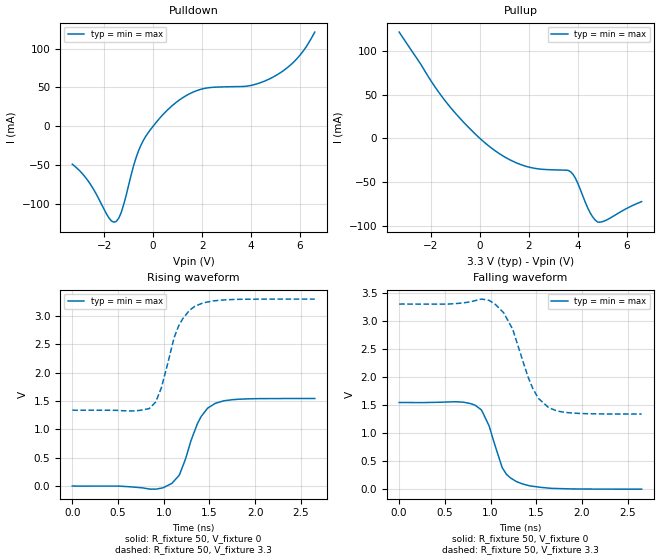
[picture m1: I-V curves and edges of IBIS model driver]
| IBIS file ex2_nomiller_tr5ps.ibs created by PYS2IBIS3
| Missouri S&T EMC Lab
[IBIS Ver] 7.1
[File Name] ex2_nomiller_tr5ps.ibs
[File Rev] 1.0
[Date] July 28, 2026
[Source] ex2 variant nomiller -- n4->out Miller caps removed
[Notes] Parameter selection; sim_time=2.653e-09, tr=tf=5.000e-12.
[Disclaimer] Experimental characterization for pybis observability study.
[Component] MCM Driver 1
[Manufacturer] MegaFLOPS Inc.
[Package]
| variable   typ   min   max
R_pkg 0 NA NA
L_pkg 0H NA NA
C_pkg 0F NA NA
[Pin]  signal_name   model_name   R_pin   L_pin   C_pin
vdd   vdd   POWER
gnd   gnd   GND
| in in dummy
out   out   driver
| End of Component
| Models and submodels in the file (1): driver (Output)
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[Model] driver
Model_type Output
Polarity Non-Inverting
Enable Active-Low
Vinl  = 0.8V
Vinh  = 2V
C_comp 5.0000pF 5.0000pF 5.0000pF
[Temperature Range] 27.0000 27.0000 27.0000
[Voltage Range] 3.3000V 3.3000V 3.3000V
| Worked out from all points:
|   slope of the pulldown table from 0 to 0.495 V, typ, clamps not added: 27.4 ohm
|   slope of the pullup table from 0 to 0.495 V, typ, clamps not added: 42.7 ohm
|   rising waveform, R_fixture 50, V_fixture 0: 20-80 % time 215ps typ, 215ps min, 215ps max; typ from 0 V to 1.54 V
|   rising waveform, R_fixture 50, V_fixture 3.3: 20-80 % time 218ps typ, 218ps min, 218ps max; typ from 1.34 V to 3.3 V
|   falling waveform, R_fixture 50, V_fixture 0: 20-80 % time 203ps typ, 203ps min, 203ps max; typ from 1.54 V to 0 V
|   falling waveform, R_fixture 50, V_fixture 3.3: 20-80 % time 261ps typ, 261ps min, 261ps max; typ from 3.3 V to 1.34 V
[Pulldown]
| Voltage   I(typ)   I(min)   I(max)
-3.3V     -48.93mA   -48.93mA   -48.93mA
-2.6V     -72.86mA   -72.86mA   -72.86mA
-1.8V     -118.2mA   -118.2mA   -118.2mA
-1.5V     -122.5mA   -122.5mA   -122.5mA
-1.3V     -110.9mA   -110.9mA   -110.9mA
-500mV    -24.59mA   -24.59mA   -24.59mA
600mV     21.34mA    21.34mA    21.34mA
1.9V      47.12mA    47.12mA    47.12mA
3.9V      51.99mA    51.99mA    51.99mA
4.9V      63.38mA    63.38mA    63.38mA
5.9V      87.99mA    87.99mA    87.99mA
6.6V      121.3mA    121.3mA    121.3mA
[Pullup]
| Voltage   I(typ)   I(min)   I(max)
-3.3V     122mA      122mA      122mA
-1.9V     61.75mA    61.75mA    61.75mA
-1.3V     38.86mA    38.86mA    38.86mA
-200mV    5.278mA    5.278mA    5.278mA
700mV     -15.75mA   -15.75mA   -15.75mA
2V        -32.92mA   -32.92mA   -32.92mA
3.7V      -38.24mA   -38.24mA   -38.24mA
3.9V      -45.89mA   -45.89mA   -45.89mA
4.5V      -85.43mA   -85.43mA   -85.43mA
4.8V      -95.97mA   -95.97mA   -95.97mA
5.1V      -94.48mA   -94.48mA   -94.48mA
6.6V      -72.53mA   -72.53mA   -72.53mA
[Ramp]
| variable   typ   min   max
dV/dt_r 0.9270/0.2154n 0.9270/0.2154n 0.9270/0.2154n
dV/dt_f  1.1766/0.26n  1.1766/0.26n  1.1766/0.26n
R_load = 50
[Rising Waveform]
R_fixture = 50
V_fixture = 0
|time   V(typ)   V(min)   V(max)
0s        7.302nV    7.302nV    7.302nV
990.4ps   -32.49mV   -32.49mV   -32.49mV
1.086ns   41.37mV    41.37mV    41.37mV
1.168ns   182.9mV    182.9mV    182.9mV
1.24ns    482mV      482mV      482mV
1.365ns   1.089V     1.089V     1.089V
1.476ns   1.367V     1.367V     1.367V
1.564ns   1.46V      1.46V      1.46V
1.803ns   1.531V     1.531V     1.531V
2.653ns   1.545V     1.545V     1.545V
[Rising Waveform]
R_fixture = 50
V_fixture = 3.3
|time   V(typ)   V(min)   V(max)
0s        1.338V     1.338V     1.338V
844.4ps   1.37V      1.37V      1.37V
913.4ps   1.487V     1.487V     1.487V
974.5ps   1.733V     1.733V     1.733V
1.113ns   2.61V      2.61V      2.61V
1.163ns   2.824V     2.824V     2.824V
1.277ns   3.093V     3.093V     3.093V
1.338ns   3.171V     3.171V     3.171V
1.63ns    3.282V     3.282V     3.282V
2.653ns   3.3V       3.3V       3.3V
[Falling Waveform]
R_fixture = 50
V_fixture = 0
|time   V(typ)   V(min)   V(max)
0s        1.545V     1.545V     1.545V
679.8ps   1.555V     1.555V     1.555V
833.8ps   1.493V     1.493V     1.493V
900.1ps   1.412V     1.412V     1.412V
982.5ps   1.138V     1.138V     1.138V
1.129ns   381.2mV    381.2mV    381.2mV
1.219ns   200.2mV    200.2mV    200.2mV
1.336ns   99.72mV    99.72mV    99.72mV
1.657ns   15.04mV    15.04mV    15.04mV
2.653ns   77.7uV     77.7uV     77.7uV
[Falling Waveform]
R_fixture = 50
V_fixture = 3.3
|time   V(typ)   V(min)   V(max)
0s        3.3V       3.3V       3.3V
982.5ps   3.367V     3.367V     3.367V
1.147ns   3.133V     3.133V     3.133V
1.243ns   2.849V     2.849V     2.849V
1.405ns   2.023V     2.023V     2.023V
1.46ns    1.8V       1.8V       1.8V
1.522ns   1.622V     1.622V     1.622V
1.63ns    1.458V     1.458V     1.458V
1.896ns   1.356V     1.356V     1.356V
2.653ns   1.339V     1.339V     1.339V
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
